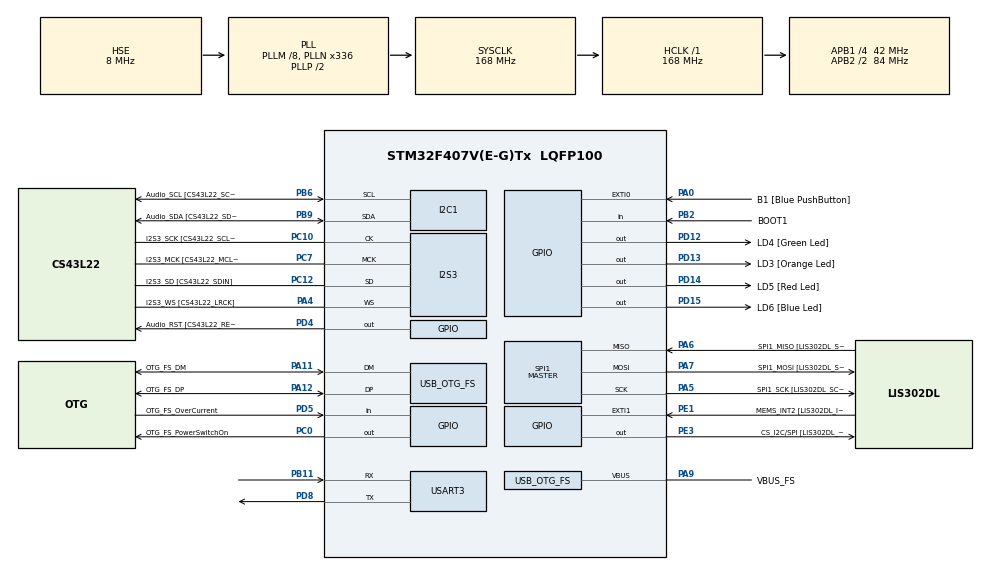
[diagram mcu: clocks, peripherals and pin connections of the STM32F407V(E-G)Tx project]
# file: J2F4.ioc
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I2S3.AudioFreq-Half_Duplex_Master=I2S_AUDIOFREQ_96K
I2S3.ErrorAudioFreq=-2.34 %
I2S3.ErrorAudioFreq-Half_Duplex_Master=0.8 %
I2S3.FullDuplexMode=I2S_FULLDUPLEXMODE_DISABLE
I2S3.Instance=SPI$Index
I2S3.RealAudioFreq=93.75 KHz
I2S3.RealAudioFreq-Half_Duplex_Master=96.774 KHz
I2S3.VirtualMode=I2S_MODE_MASTER
Mcu.Family=STM32F4
Mcu.Name=STM32F407V(E-G)Tx
Mcu.Package=LQFP100
NVIC.OTG_FS_IRQn=true\:0\:0\:false\:false\:true\:true\:true\:true
NVIC.PriorityGroup=NVIC_PRIORITYGROUP_0
NVIC.USART3_IRQn=true\:0\:1\:false\:false\:true\:true\:true\:true
PA0-WKUP.GPIO_Label=B1 [Blue PushButton]
PA0-WKUP.GPIO_ModeDefaultEXTI=GPIO_MODE_EVT_RISING
PA0-WKUP.GPIO_PuPd=GPIO_NOPULL
PA0-WKUP.Signal=GPXTI0
PA10.GPIO_Label=OTG_FS_ID
PA10.GPIO_Mode=GPIO_MODE_AF_PP
PA10.GPIO_PuPd=GPIO_NOPULL
PA10.GPIO_Speed=GPIO_SPEED_FREQ_LOW
PA10.Signal=USB_OTG_FS_ID
PA11.GPIO_Label=OTG_FS_DM
PA11.GPIO_Mode=GPIO_MODE_AF_PP
PA11.GPIO_PuPd=GPIO_NOPULL
PA11.GPIO_Speed=GPIO_SPEED_FREQ_LOW
PA11.Mode=Host_Only
PA11.Signal=USB_OTG_FS_DM
PA12.GPIO_Label=OTG_FS_DP
PA12.GPIO_Mode=GPIO_MODE_AF_PP
PA12.GPIO_PuPd=GPIO_NOPULL
PA12.GPIO_Speed=GPIO_SPEED_FREQ_LOW
PA12.Mode=Host_Only
PA12.Signal=USB_OTG_FS_DP
PA13.GPIO_Label=SWDIO
PA13.Mode=Serial_Wire
PA13.Signal=SYS_JTMS-SWDIO
PA14.GPIO_Label=SWCLK
PA14.Mode=Serial_Wire
PA14.Signal=SYS_JTCK-SWCLK
PA4.GPIO_Label=I2S3_WS [CS43L22_LRCK]
PA4.GPIO_Mode=GPIO_MODE_AF_PP
PA4.GPIO_PuPd=GPIO_NOPULL
PA4.GPIO_Speed=GPIO_SPEED_FREQ_LOW
PA4.Mode=Half_Duplex_Master
PA4.Signal=I2S3_WS
PA5.GPIO_Label=SPI1_SCK [LIS302DL_SCL/SPC]
PA5.GPIO_Mode=GPIO_MODE_AF_PP
PA5.GPIO_PuPd=GPIO_NOPULL
PA5.GPIO_Speed=GPIO_SPEED_FREQ_LOW
PA5.Mode=Full_Duplex_Master
PA5.Signal=SPI1_SCK
PA6.GPIO_Label=SPI1_MISO [LIS302DL_SDO]
PA6.GPIO_Mode=GPIO_MODE_AF_PP
PA6.GPIO_PuPd=GPIO_NOPULL
PA6.GPIO_Speed=GPIO_SPEED_FREQ_LOW
PA6.Mode=Full_Duplex_Master
PA6.Signal=SPI1_MISO
PA7.GPIO_Label=SPI1_MOSI [LIS302DL_SDA/SDI/SDO]
PA7.GPIO_Mode=GPIO_MODE_AF_PP
PA7.GPIO_PuPd=GPIO_NOPULL
PA7.GPIO_Speed=GPIO_SPEED_FREQ_LOW
PA7.Mode=Full_Duplex_Master
PA7.Signal=SPI1_MOSI
PA9.GPIO_Label=VBUS_FS
PA9.GPIO_Mode=GPIO_MODE_INPUT
PA9.GPIO_PuPd=GPIO_NOPULL
PA9.Mode=Activate_VBUS
PA9.Signal=USB_OTG_FS_VBUS
PB10.GPIO_Label=CLK_IN [MP45DT02_CLK]
PB10.GPIO_Mode=GPIO_MODE_AF_PP
PB10.GPIO_PuPd=GPIO_NOPULL
PB10.GPIO_Speed=GPIO_SPEED_FREQ_LOW
PB10.Signal=I2S2_CK
PB11.GPIO_PuPd=GPIO_PULLUP
PB11.Mode=Asynchronous
PB11.Signal=USART3_RX
PB2.GPIO_Label=BOOT1
PB2.GPIO_Mode=GPIO_MODE_INPUT
PB2.GPIO_PuPd=GPIO_NOPULL
PB2.Signal=GPIO_Input
PB3.GPIO_Label=SWO
PB3.Signal=SYS_JTDO-SWO
PB6.GPIO_Label=Audio_SCL [CS43L22_SCL]
PB6.GPIO_Mode=GPIO_MODE_AF_OD
PB6.GPIO_Pu=GPIO_PULLUP
PB6.GPIO_PuPd=GPIO_NOPULL
PB6.GPIO_Speed=GPIO_SPEED_FREQ_LOW
PB6.Mode=I2C
PB6.Signal=I2C1_SCL
PB9.GPIO_Label=Audio_SDA [CS43L22_SDA]
PB9.GPIO_Mode=GPIO_MODE_AF_OD
PB9.GPIO_Pu=GPIO_PULLUP
PB9.GPIO_PuPd=GPIO_NOPULL
PB9.GPIO_Speed=GPIO_SPEED_FREQ_LOW
PB9.Mode=I2C
PB9.Signal=I2C1_SDA
PC0.GPIO_Label=OTG_FS_PowerSwitchOn
PC0.GPIO_PuPd=GPIO_NOPULL
PC0.GPIO_Speed=GPIO_SPEED_FREQ_LOW
PC0.PinState=GPIO_PIN_SET
PC0.Signal=GPIO_Output
PC10.GPIO_Label=I2S3_SCK [CS43L22_SCLK]
PC10.GPIO_Mode=GPIO_MODE_AF_PP
PC10.GPIO_PuPd=GPIO_NOPULL
PC10.GPIO_Speed=GPIO_SPEED_FREQ_LOW
PC10.Mode=Half_Duplex_Master
PC10.Signal=I2S3_CK
PC12.GPIO_Label=I2S3_SD [CS43L22_SDIN]
PC12.GPIO_Mode=GPIO_MODE_AF_PP
PC12.GPIO_PuPd=GPIO_NOPULL
PC12.GPIO_Speed=GPIO_SPEED_FREQ_LOW
PC12.Mode=Half_Duplex_Master
PC12.Signal=I2S3_SD
PC14-OSC32_IN.GPIO_Label=PC14-OSC32_IN
PC14-OSC32_IN.Mode=LSE-External-Oscillator
PC14-OSC32_IN.Signal=RCC_OSC32_IN
PC15-OSC32_OUT.GPIO_Label=PC15-OSC32_OUT
PC15-OSC32_OUT.Mode=LSE-External-Oscillator
PC15-OSC32_OUT.Signal=RCC_OSC32_OUT
PC3.GPIO_Label=PDM_OUT [MP45DT02_DOUT]
PC3.GPIO_Mode=GPIO_MODE_AF_PP
PC3.GPIO_PuPd=GPIO_NOPULL
PC3.GPIO_Speed=GPIO_SPEED_FREQ_LOW
PC3.Signal=I2S2_SD
PC7.GPIO_Label=I2S3_MCK [CS43L22_MCLK]
PC7.GPIO_Mode=GPIO_MODE_AF_PP
PC7.GPIO_PuPd=GPIO_NOPULL
PC7.GPIO_Speed=GPIO_SPEED_FREQ_LOW
PC7.Mode=Master_Clock_Activated
PC7.Signal=I2S3_MCK
PD12.GPIO_Label=LD4 [Green Led]
PD12.GPIO_PuPd=GPIO_NOPULL
PD12.GPIO_Speed=GPIO_SPEED_FREQ_LOW
PD12.Signal=GPIO_Output
PD13.GPIO_Label=LD3 [Orange Led]
PD13.GPIO_PuPd=GPIO_NOPULL
PD13.GPIO_Speed=GPIO_SPEED_FREQ_LOW
PD13.Signal=GPIO_Output
PD14.GPIO_Label=LD5 [Red Led]
PD14.GPIO_PuPd=GPIO_NOPULL
PD14.GPIO_Speed=GPIO_SPEED_FREQ_LOW
PD14.Signal=GPIO_Output
PD15.GPIO_Label=LD6 [Blue Led]
PD15.GPIO_PuPd=GPIO_NOPULL
PD15.GPIO_Speed=GPIO_SPEED_FREQ_LOW
PD15.Signal=GPIO_Output
PD4.GPIO_Label=Audio_RST [CS43L22_RESET]
PD4.GPIO_PuPd=GPIO_NOPULL
PD4.GPIO_Speed=GPIO_SPEED_FREQ_LOW
PD4.Signal=GPIO_Output
PD5.GPIO_Label=OTG_FS_OverCurrent
PD5.GPIO_Mode=GPIO_MODE_INPUT
PD5.GPIO_PuPd=GPIO_NOPULL
PD5.Signal=GPIO_Input
PD8.GPIO_PuPd=GPIO_PULLUP
PD8.Mode=Asynchronous
PD8.Signal=USART3_TX
PE1.GPIO_Label=MEMS_INT2 [LIS302DL_INT2]
PE1.GPIO_ModeDefaultEXTI=GPIO_MODE_EVT_RISING
PE1.GPIO_PuPd=GPIO_NOPULL
PE1.Signal=GPXTI1
PE3.GPIO_Label=CS_I2C/SPI [LIS302DL_CS_I2C/SPI]
PE3.GPIO_PuPd=GPIO_NOPULL
PE3.GPIO_Speed=GPIO_SPEED_FREQ_LOW
PE3.Signal=GPIO_Output
PH0-OSC_IN.GPIO_Label=PH0-OSC_IN
PH0-OSC_IN.Mode=HSE-External-Oscillator
PH0-OSC_IN.Signal=RCC_OSC_IN
PH1-OSC_OUT.GPIO_Label=PH1-OSC_OUT
PH1-OSC_OUT.Mode=HSE-External-Oscillator
PH1-OSC_OUT.Signal=RCC_OSC_OUT
ProjectManager.HeapSize=0x200
ProjectManager.StackSize=0x400
ProjectManager.TargetToolchain=STM32CubeIDE
RCC.48MHZClocksFreq_Value=48000000
RCC.AHBFreq_Value=168000000
RCC.APB1CLKDivider=RCC_HCLK_DIV4
RCC.APB1Freq_Value=42000000
RCC.APB1TimFreq_Value=84000000
RCC.APB2CLKDivider=RCC_HCLK_DIV2
RCC.APB2Freq_Value=84000000
RCC.APB2TimFreq_Value=168000000
RCC.CortexFreq_Value=168000000
RCC.HCLKFreq_Value=168000000
RCC.HSE_VALUE=8000000
RCC.HSI_VALUE=16000000
RCC.PLLM=8
RCC.PLLN=336
RCC.PLLQ=7
RCC.SYSCLKFreq_VALUE=168000000
RCC.SYSCLKSource=RCC_SYSCLKSOURCE_PLLCLK
RCC.VCOOutputFreq_Value=336000000
SPI1.BaudRatePrescaler-Full_Duplex_Master=SPI_BAUDRATEPRESCALER_2
SPI1.CalculateBaudRate-Full_Duplex_Master=42.0 MBits/s
SPI1.Direction=SPI_DIRECTION_2LINES
SPI1.Mode=SPI_MODE_MASTER
SPI1.Mode-Full_Duplex_Master=SPI_MODE_MASTER
SPI1.VirtualType=VM_MASTER
USART3.VirtualMode=VM_ASYNC
USB_HOST.BSP.number=1
USB_HOST.USBH_HandleTypeDef-CDC_FS=hUsbHostFS
USB_HOST.VirtualModeFS=Cdc
USB_HOST0.BSP.STBoard=false
USB_HOST0.BSP.api=Unknown
USB_HOST0.BSP.instance=PC0
USB_HOST0.BSP.ip=GPIO
USB_HOST0.BSP.mode=Output
USB_HOST0.BSP.name=Drive_VBUS_FS
USB_HOST0.BSP.solution=PC0
USB_OTG_FS.VirtualMode=Host_Only
USB_OTG_FS.phy_itface=HCD_PHY_EMBEDDED
VP_USB_HOST_VS_USB_HOST_CDC_FS.Mode=CDC_FS
board=STM32F407G-DISC1

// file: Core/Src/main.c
/* USER CODE BEGIN Header */
/**
  ******************************************************************************
  * @file           : main.c
  * @brief          : Main program body
  ******************************************************************************
  * @attention
  *
  * Copyright (c) 2024 STMicroelectronics.
  * All rights reserved.
  *
  * This software is licensed under terms that can be found in the LICENSE file
  * in the root directory of this software component.
  * If no LICENSE file comes with this software, it is provided AS-IS.
  *
  ******************************************************************************
  */
/* USER CODE END Header */
#include "main.h"
#include "usb_host.h"

/* USER CODE BEGIN Includes */
#include <string.h>

/* USER CODE END Includes */

I2C_HandleTypeDef hi2c1;

I2S_HandleTypeDef hi2s3;

SPI_HandleTypeDef hspi1;

UART_HandleTypeDef huart3;

/* USER CODE BEGIN PV */
char buffer[4];
char ping[]= "PING";
char pong[]= "PONG";

uint8_t flag;
uint8_t flag2=1;

/* USER CODE END PV */

void SystemClock_Config(void);
static void MX_GPIO_Init(void);
static void MX_I2C1_Init(void);
static void MX_I2S3_Init(void);
static void MX_SPI1_Init(void);
static void MX_USART3_UART_Init(void);
void MX_USB_HOST_Process(void);

/* USER CODE BEGIN PFP */

void HAL_UART_RxCpltCallback(UART_HandleTypeDef *huart)
{
	if (!strncmp(buffer,ping,4)){
		HAL_GPIO_TogglePin(GPIOD, GPIO_PIN_15);
		flag=1;
		flag2=0;

	}
	else if(!strncmp(buffer,pong,4)){
		HAL_GPIO_TogglePin(GPIOD, GPIO_PIN_14);
	}

}

void HAL_UART_TxCpltCallback(UART_HandleTypeDef *huart)
{
	HAL_UART_Receive_IT(&huart3, &buffer, 4);
}

/* USER CODE END PFP */

int main(void)
{

  /* MCU Configuration--------------------------------------------------------*/

  /* Reset of all peripherals, Initializes the Flash interface and the Systick. */
  HAL_Init();

  /* Configure the system clock */
  SystemClock_Config();

  /* Initialize all configured peripherals */
  MX_GPIO_Init();
  MX_I2C1_Init();
  MX_I2S3_Init();
  MX_SPI1_Init();
  MX_USB_HOST_Init();
  MX_USART3_UART_Init();

  /* Infinite loop */
  /* USER CODE BEGIN WHILE */
  while (1)
  {
	HAL_Delay(1000);
	if(flag2){
	    	HAL_UART_Transmit_IT(&huart3, (uint8_t*)&ping, 4);
	}
    HAL_UART_Receive_IT(&huart3, (uint8_t *)&buffer, 4);
    HAL_Delay(200);
    if(flag){
    	 HAL_UART_Transmit_IT(&huart3, (uint8_t*)&pong, 4);
    	 flag=0;
    }

    HAL_Delay(200);
    /* USER CODE END WHILE */
    MX_USB_HOST_Process();

  }
}

void SystemClock_Config(void)
{
  RCC_OscInitTypeDef RCC_OscInitStruct = {0};
  RCC_ClkInitTypeDef RCC_ClkInitStruct = {0};

  /** Configure the main internal regulator output voltage
  */
  __HAL_RCC_PWR_CLK_ENABLE();
  __HAL_PWR_VOLTAGESCALING_CONFIG(PWR_REGULATOR_VOLTAGE_SCALE1);

  /** Initializes the RCC Oscillators according to the specified parameters
  * in the RCC_OscInitTypeDef structure.
  */
  RCC_OscInitStruct.OscillatorType = RCC_OSCILLATORTYPE_HSE;
  RCC_OscInitStruct.HSEState = RCC_HSE_ON;
  RCC_OscInitStruct.PLL.PLLState = RCC_PLL_ON;
  RCC_OscInitStruct.PLL.PLLSource = RCC_PLLSOURCE_HSE;
  RCC_OscInitStruct.PLL.PLLM = 8;
  RCC_OscInitStruct.PLL.PLLN = 336;
  RCC_OscInitStruct.PLL.PLLP = RCC_PLLP_DIV2;
  RCC_OscInitStruct.PLL.PLLQ = 7;
  if (HAL_RCC_OscConfig(&RCC_OscInitStruct) != HAL_OK)
  {
    Error_Handler();
  }

  /** Initializes the CPU, AHB and APB buses clocks
  */
  RCC_ClkInitStruct.ClockType = RCC_CLOCKTYPE_HCLK|RCC_CLOCKTYPE_SYSCLK
                              |RCC_CLOCKTYPE_PCLK1|RCC_CLOCKTYPE_PCLK2;
  RCC_ClkInitStruct.SYSCLKSource = RCC_SYSCLKSOURCE_PLLCLK;
  RCC_ClkInitStruct.AHBCLKDivider = RCC_SYSCLK_DIV1;
  RCC_ClkInitStruct.APB1CLKDivider = RCC_HCLK_DIV4;
  RCC_ClkInitStruct.APB2CLKDivider = RCC_HCLK_DIV2;

  if (HAL_RCC_ClockConfig(&RCC_ClkInitStruct, FLASH_LATENCY_5) != HAL_OK)
  {
    Error_Handler();
  }
}

static void MX_I2C1_Init(void)
{

  hi2c1.Instance = I2C1;
  hi2c1.Init.ClockSpeed = 100000;
  hi2c1.Init.DutyCycle = I2C_DUTYCYCLE_2;
  hi2c1.Init.OwnAddress1 = 0;
  hi2c1.Init.AddressingMode = I2C_ADDRESSINGMODE_7BIT;
  hi2c1.Init.DualAddressMode = I2C_DUALADDRESS_DISABLE;
  hi2c1.Init.OwnAddress2 = 0;
  hi2c1.Init.GeneralCallMode = I2C_GENERALCALL_DISABLE;
  hi2c1.Init.NoStretchMode = I2C_NOSTRETCH_DISABLE;
  if (HAL_I2C_Init(&hi2c1) != HAL_OK)
  {
    Error_Handler();
  }

}

static void MX_I2S3_Init(void)
{

  hi2s3.Instance = SPI3;
  hi2s3.Init.Mode = I2S_MODE_MASTER_TX;
  hi2s3.Init.Standard = I2S_STANDARD_PHILIPS;
  hi2s3.Init.DataFormat = I2S_DATAFORMAT_16B;
  hi2s3.Init.MCLKOutput = I2S_MCLKOUTPUT_ENABLE;
  hi2s3.Init.AudioFreq = I2S_AUDIOFREQ_96K;
  hi2s3.Init.CPOL = I2S_CPOL_LOW;
  hi2s3.Init.ClockSource = I2S_CLOCK_PLL;
  hi2s3.Init.FullDuplexMode = I2S_FULLDUPLEXMODE_DISABLE;
  if (HAL_I2S_Init(&hi2s3) != HAL_OK)
  {
    Error_Handler();
  }

}

static void MX_SPI1_Init(void)
{

  /* SPI1 parameter configuration*/
  hspi1.Instance = SPI1;
  hspi1.Init.Mode = SPI_MODE_MASTER;
  hspi1.Init.Direction = SPI_DIRECTION_2LINES;
  hspi1.Init.DataSize = SPI_DATASIZE_8BIT;
  hspi1.Init.CLKPolarity = SPI_POLARITY_LOW;
  hspi1.Init.CLKPhase = SPI_PHASE_1EDGE;
  hspi1.Init.NSS = SPI_NSS_SOFT;
  hspi1.Init.BaudRatePrescaler = SPI_BAUDRATEPRESCALER_2;
  hspi1.Init.FirstBit = SPI_FIRSTBIT_MSB;
  hspi1.Init.TIMode = SPI_TIMODE_DISABLE;
  hspi1.Init.CRCCalculation = SPI_CRCCALCULATION_DISABLE;
  hspi1.Init.CRCPolynomial = 10;
  if (HAL_SPI_Init(&hspi1) != HAL_OK)
  {
    Error_Handler();
  }

}

static void MX_USART3_UART_Init(void)
{

  huart3.Instance = USART3;
  huart3.Init.BaudRate = 115200;
  huart3.Init.WordLength = UART_WORDLENGTH_8B;
  huart3.Init.StopBits = UART_STOPBITS_1;
  huart3.Init.Parity = UART_PARITY_NONE;
  huart3.Init.Mode = UART_MODE_TX_RX;
  huart3.Init.HwFlowCtl = UART_HWCONTROL_NONE;
  huart3.Init.OverSampling = UART_OVERSAMPLING_16;
  if (HAL_UART_Init(&huart3) != HAL_OK)
  {
    Error_Handler();
  }

}

static void MX_GPIO_Init(void)
{
  GPIO_InitTypeDef GPIO_InitStruct = {0};

  /* GPIO Ports Clock Enable */
  __HAL_RCC_GPIOE_CLK_ENABLE();
  __HAL_RCC_GPIOC_CLK_ENABLE();
  __HAL_RCC_GPIOH_CLK_ENABLE();
  __HAL_RCC_GPIOA_CLK_ENABLE();
  __HAL_RCC_GPIOB_CLK_ENABLE();
  __HAL_RCC_GPIOD_CLK_ENABLE();

  /*Configure GPIO pin Output Level */
  HAL_GPIO_WritePin(CS_I2C_SPI_GPIO_Port, CS_I2C_SPI_Pin, GPIO_PIN_RESET);

  /*Configure GPIO pin Output Level */
  HAL_GPIO_WritePin(OTG_FS_PowerSwitchOn_GPIO_Port, OTG_FS_PowerSwitchOn_Pin, GPIO_PIN_SET);

  /*Configure GPIO pin Output Level */
  HAL_GPIO_WritePin(GPIOD, LD4_Pin|LD3_Pin|LD5_Pin|LD6_Pin
                          |Audio_RST_Pin, GPIO_PIN_RESET);

  /*Configure GPIO pin : CS_I2C_SPI_Pin */
  GPIO_InitStruct.Pin = CS_I2C_SPI_Pin;
  GPIO_InitStruct.Mode = GPIO_MODE_OUTPUT_PP;
  GPIO_InitStruct.Pull = GPIO_NOPULL;
  GPIO_InitStruct.Speed = GPIO_SPEED_FREQ_LOW;
  HAL_GPIO_Init(CS_I2C_SPI_GPIO_Port, &GPIO_InitStruct);

  /*Configure GPIO pin : OTG_FS_PowerSwitchOn_Pin */
  GPIO_InitStruct.Pin = OTG_FS_PowerSwitchOn_Pin;
  GPIO_InitStruct.Mode = GPIO_MODE_OUTPUT_PP;
  GPIO_InitStruct.Pull = GPIO_NOPULL;
  GPIO_InitStruct.Speed = GPIO_SPEED_FREQ_LOW;
  HAL_GPIO_Init(OTG_FS_PowerSwitchOn_GPIO_Port, &GPIO_InitStruct);

  /*Configure GPIO pin : PDM_OUT_Pin */
  GPIO_InitStruct.Pin = PDM_OUT_Pin;
  GPIO_InitStruct.Mode = GPIO_MODE_AF_PP;
  GPIO_InitStruct.Pull = GPIO_NOPULL;
  GPIO_InitStruct.Speed = GPIO_SPEED_FREQ_LOW;
  GPIO_InitStruct.Alternate = GPIO_AF5_SPI2;
  HAL_GPIO_Init(PDM_OUT_GPIO_Port, &GPIO_InitStruct);

  /*Configure GPIO pin : B1_Pin */
  GPIO_InitStruct.Pin = B1_Pin;
  GPIO_InitStruct.Mode = GPIO_MODE_EVT_RISING;
  GPIO_InitStruct.Pull = GPIO_NOPULL;
  HAL_GPIO_Init(B1_GPIO_Port, &GPIO_InitStruct);

  /*Configure GPIO pin : BOOT1_Pin */
  GPIO_InitStruct.Pin = BOOT1_Pin;
  GPIO_InitStruct.Mode = GPIO_MODE_INPUT;
  GPIO_InitStruct.Pull = GPIO_NOPULL;
  HAL_GPIO_Init(BOOT1_GPIO_Port, &GPIO_InitStruct);

  /*Configure GPIO pin : CLK_IN_Pin */
  GPIO_InitStruct.Pin = CLK_IN_Pin;
  GPIO_InitStruct.Mode = GPIO_MODE_AF_PP;
  GPIO_InitStruct.Pull = GPIO_NOPULL;
  GPIO_InitStruct.Speed = GPIO_SPEED_FREQ_LOW;
  GPIO_InitStruct.Alternate = GPIO_AF5_SPI2;
  HAL_GPIO_Init(CLK_IN_GPIO_Port, &GPIO_InitStruct);

  /*Configure GPIO pins : LD4_Pin LD3_Pin LD5_Pin LD6_Pin
                           Audio_RST_Pin */
  GPIO_InitStruct.Pin = LD4_Pin|LD3_Pin|LD5_Pin|LD6_Pin
                          |Audio_RST_Pin;
  GPIO_InitStruct.Mode = GPIO_MODE_OUTPUT_PP;
  GPIO_InitStruct.Pull = GPIO_NOPULL;
  GPIO_InitStruct.Speed = GPIO_SPEED_FREQ_LOW;
  HAL_GPIO_Init(GPIOD, &GPIO_InitStruct);

  /*Configure GPIO pin : OTG_FS_OverCurrent_Pin */
  GPIO_InitStruct.Pin = OTG_FS_OverCurrent_Pin;
  GPIO_InitStruct.Mode = GPIO_MODE_INPUT;
  GPIO_InitStruct.Pull = GPIO_NOPULL;
  HAL_GPIO_Init(OTG_FS_OverCurrent_GPIO_Port, &GPIO_InitStruct);

  /*Configure GPIO pin : MEMS_INT2_Pin */
  GPIO_InitStruct.Pin = MEMS_INT2_Pin;
  GPIO_InitStruct.Mode = GPIO_MODE_EVT_RISING;
  GPIO_InitStruct.Pull = GPIO_NOPULL;
  HAL_GPIO_Init(MEMS_INT2_GPIO_Port, &GPIO_InitStruct);

}

void Error_Handler(void)
{
  __disable_irq();
  while (1)
  {
  }
}
